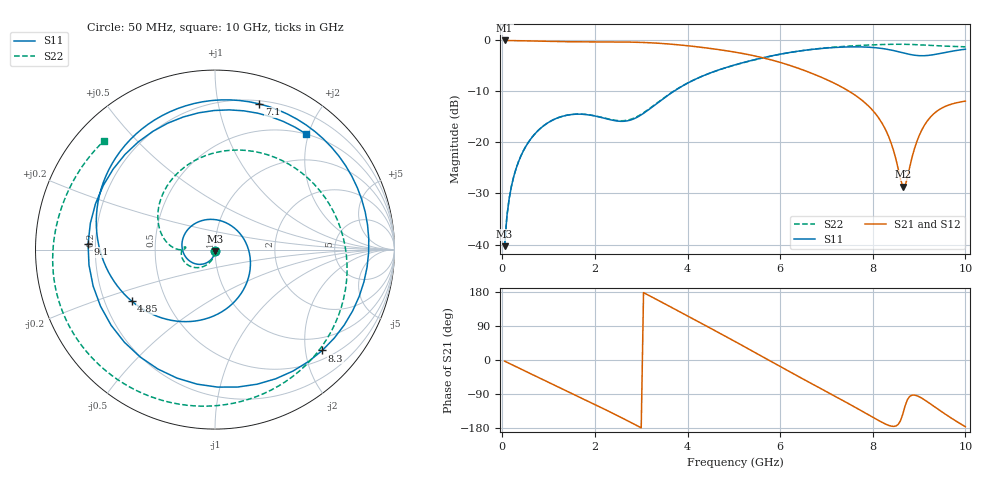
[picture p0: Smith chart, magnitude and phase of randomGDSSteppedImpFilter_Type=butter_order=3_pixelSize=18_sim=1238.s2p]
! freq	dB(S11)	phase(S11)	dB(S12)	phase(S12)
!  dB(S21)	phase(S21)	dB(S22)	phase(S22)
!S-par simulation data
#  GHz  S  DB  R 50
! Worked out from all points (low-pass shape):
!   200 points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, 50 MHz to 10 GHz, reference 50 ohm
!   highest |S21| = -0.01 dB at 50 MHz (marker M1); lowest = -28.7 dB at 8.65 GHz (marker M2)
!   |S21| within 3 dB of the highest: start of sweep to 5.435 GHz
!   lowest |S11| = -40.3 dB at 50 MHz (marker M3), VSWR 1.02, Z = 50 - j0.962 ohm
!   |S11| at or under -10 dB: start of sweep to 3.699 GHz
!   |S22| runs from -40.3 to -0.7 dB; largest |S21 - S12| = 0
!   S11 on the Smith chart (normalised r, x): 50 MHz: 1.00, -0.02; 4.85 GHz: 0.32, -0.26; 7.1 GHz: 0.23, +1.32; 8.3 GHz: 0.68, -2.35; 9.1 GHz: 0.17, +0.02; 10 GHz: 0.49, +1.95
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0.05  -40.32 -91.8  -0.01 -3.0  -0.01 -3.0  -40.32 -91.1
0.2  -28.47 -103.2  -0.03 -11.9  -0.03 -11.9  -28.46 -100.4
0.5  -20.90 -123.6  -0.08 -29.6  -0.08 -29.6  -20.89 -116.6
1.15  -15.35 -167.9  -0.21 -67.6  -0.21 -67.6  -15.34 -148.7
1.75  -14.48 146.8  -0.28 -102.6  -0.28 -102.6  -14.46 -173.2
2.65  -15.83 48.0  -0.31 -156.9  -0.31 -156.9  -15.70 176.9
3.4  -11.92 -45.1  -0.57 155.3  -0.57 155.3  -11.84 174.1
4.15  -7.69 -105.3  -1.19 106.5  -1.19 106.5  -7.69 137.0
4.85  -5.26 -148.3  -2.04 60.5  -2.04 60.5  -5.29 88.1
5.05  -4.72 -159.7  -2.34 47.1  -2.34 47.1  -4.75 72.8
5.95  -2.78 149.0  -4.17 -13.7  -4.17 -13.7  -2.80 2.0
6.7  -1.75 101.5  -6.51 -63.8  -6.51 -63.8  -1.73 -52.0
7.1  -1.43 73.2  -8.09 -90.1  -8.09 -90.1  -1.36 -77.3
7.8  -1.28 14.1  -11.97 -137.2  -11.97 -137.2  -0.95 -116.5
8.05  -1.42 -12.2  -14.27 -154.5  -14.27 -154.5  -0.85 -129.5
8.3  -1.72 -43.3  -17.95 -170.4  -17.95 -170.4  -0.78 -142.1
8.35  -1.80 -50.2  -19.00 -172.8  -19.00 -172.8  -0.77 -144.6
8.65  -2.43 -97.5  -28.66 -142.1  -28.66 -142.1  -0.75 -159.6
8.9  -2.90 -144.0  -21.22 -92.6  -21.22 -92.6  -0.82 -172.0
9.1  -3.00 177.5  -16.87 -103.8  -16.87 -103.8  -0.91 178.4
9.55  -2.39 103.5  -12.99 -141.6  -12.99 -141.6  -1.11 157.3
10  -1.72 52.0  -11.90 -176.1  -11.90 -176.1  -1.25 135.6
